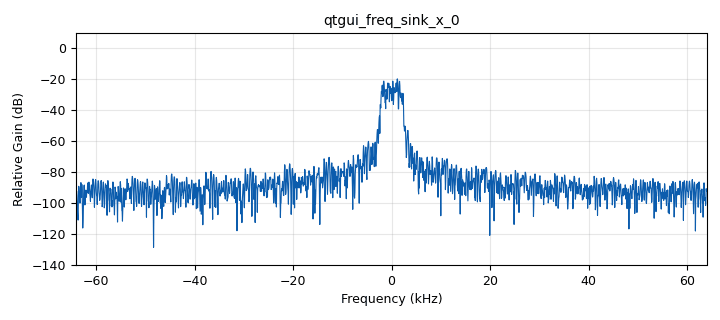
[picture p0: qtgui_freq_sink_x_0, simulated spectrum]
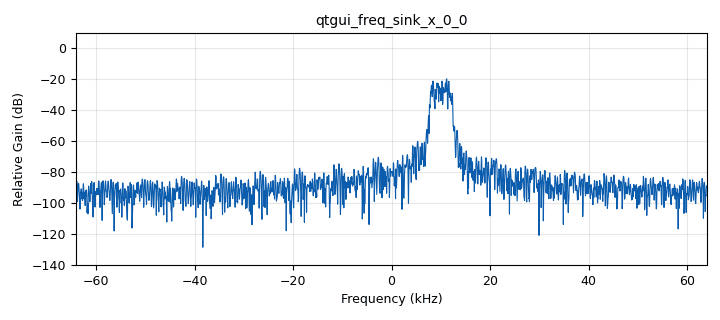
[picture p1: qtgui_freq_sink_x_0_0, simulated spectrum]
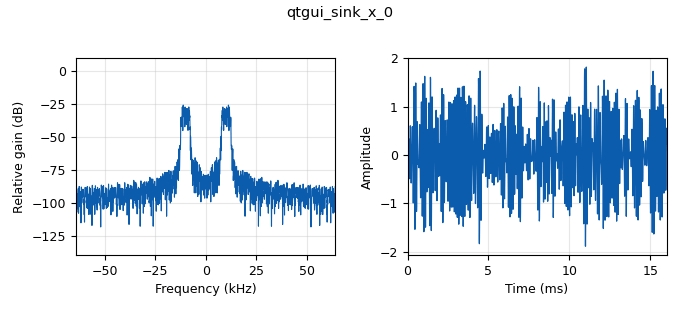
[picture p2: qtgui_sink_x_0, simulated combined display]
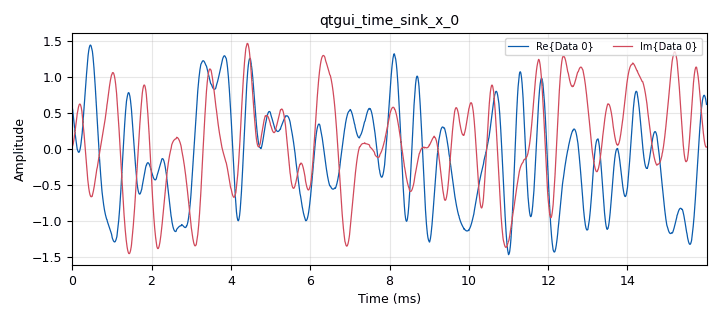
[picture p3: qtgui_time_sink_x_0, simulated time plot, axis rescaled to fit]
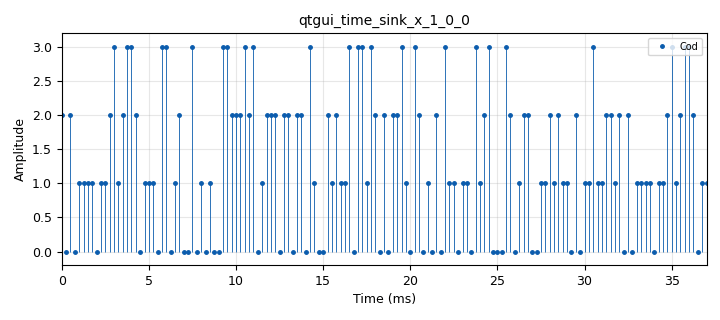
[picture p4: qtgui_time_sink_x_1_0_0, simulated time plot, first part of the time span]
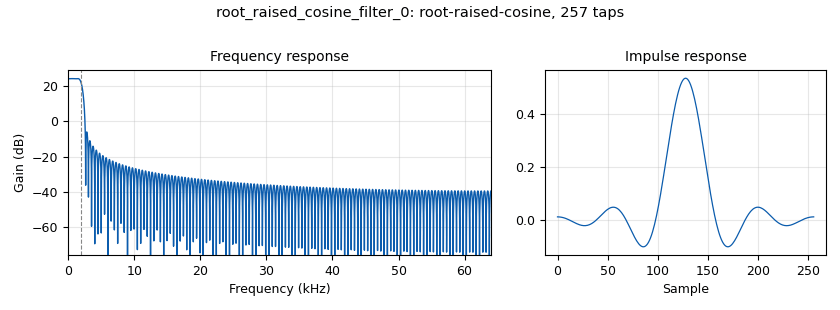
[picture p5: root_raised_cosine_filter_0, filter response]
options:
  parameters:
    generate_options: qt_gui
    id: qpsk
    output_language: python
    title: Basic QPSK starter
  states: {}

blocks:
- name: constellation
  id: variable_constellation
  parameters:
    const_points: '[-1-1j, -1+1j, 1+1j, 1-1j]'
    dims: '1'
    normalization: digital.constellation.NO_NORMALIZATION
    precision: '8'
    rot_sym: '4'
    sym_map: '[0, 1, 3, 2]'
    type: calcdist
  states: {}
- name: samp_rate
  id: variable
  parameters:
    value: symbol_rate*sps
  states: {}
- name: sps
  id: variable
  parameters:
    value: '32'
  states: {}
- name: symbol_rate
  id: variable
  parameters:
    value: '4000'
  states: {}
- name: analog_random_source_x_0
  id: analog_random_source_x
  parameters:
    max: '4'
    min: '0'
    num_samps: '128'
    repeat: 'True'
    type: byte
  states: {}
- name: analog_sig_source_x_0
  id: analog_sig_source_x
  parameters:
    amp: '1'
    freq: '10000'
    offset: '0'
    phase: '0'
    samp_rate: samp_rate
    type: complex
    waveform: analog.GR_COS_WAVE
  states: {}
- name: blocks_char_to_float_0
  id: blocks_char_to_float
  parameters:
    scale: '1'
  states: {}
- name: blocks_complex_to_real_0
  id: blocks_complex_to_real
  parameters: {}
  states: {}
- name: blocks_multiply_xx_0
  id: blocks_multiply_xx
  parameters:
    type: complex
  states: {}
- name: blocks_throttle2_0
  id: blocks_throttle2
  parameters:
    limit: items
    samples_per_second: symbol_rate
    type: byte
  states: {}
- name: digital_constellation_encoder_bc_0
  id: digital_constellation_encoder_bc
  parameters:
    constellation: constellation
  states: {}
- name: qtgui_const_sink_x_0
  id: qtgui_const_sink_x
  parameters:
    size: '1024'
    type: complex
  states: {state: disabled}
- name: qtgui_eye_sink_x_0
  id: qtgui_eye_sink_x
  parameters:
    samp_per_symbol: sps
    size: '1024'
    srate: samp_rate
    type: complex
  states: {state: disabled}
- name: qtgui_freq_sink_x_0
  id: qtgui_freq_sink_x
  parameters:
    bw: samp_rate
    fc: '0'
    fftsize: '2048'
    type: complex
  states: {}
- name: qtgui_freq_sink_x_0_0
  id: qtgui_freq_sink_x
  parameters:
    bw: samp_rate
    fc: '0'
    fftsize: '2048'
    type: complex
  states: {}
- name: qtgui_sink_x_0
  id: qtgui_sink_x
  parameters:
    bw: samp_rate
    fc: '0'
    fftsize: '2048'
    type: float
  states: {}
- name: qtgui_time_sink_x_0
  id: qtgui_time_sink_x
  parameters:
    size: '2048'
    srate: samp_rate
    type: complex
  states: {}
- name: qtgui_time_sink_x_1_0_0
  id: qtgui_time_sink_x
  parameters:
    label1: Cod
    marker1: '0'
    size: '256'
    srate: symbol_rate
    stemplot: 'True'
    type: float
    ymax: '3.2'
    ymin: '-.2'
  states: {}
- name: root_raised_cosine_filter_0
  id: root_raised_cosine_filter
  parameters:
    alpha: '0.25'
    gain: '16'
    interp: '16'
    ntaps: 8*sps
    samp_rate: samp_rate
    sym_rate: symbol_rate
    type: interp_fir_filter_ccf
  states: {}

connections:
- [analog_random_source_x_0, '0', blocks_throttle2_0, '0']
- [analog_random_source_x_0, '0', digital_constellation_encoder_bc_0, '0']
- [analog_sig_source_x_0, '0', blocks_multiply_xx_0, '1']
- [blocks_char_to_float_0, '0', qtgui_time_sink_x_1_0_0, '0']
- [blocks_complex_to_real_0, '0', qtgui_sink_x_0, '0']
- [blocks_multiply_xx_0, '0', blocks_complex_to_real_0, '0']
- [blocks_multiply_xx_0, '0', qtgui_freq_sink_x_0_0, '0']
- [blocks_throttle2_0, '0', blocks_char_to_float_0, '0']
- [digital_constellation_encoder_bc_0, '0', root_raised_cosine_filter_0, '0']
- [root_raised_cosine_filter_0, '0', blocks_multiply_xx_0, '0']
- [root_raised_cosine_filter_0, '0', qtgui_const_sink_x_0, '0']
- [root_raised_cosine_filter_0, '0', qtgui_eye_sink_x_0, '0']
- [root_raised_cosine_filter_0, '0', qtgui_freq_sink_x_0, '0']
- [root_raised_cosine_filter_0, '0', qtgui_time_sink_x_0, '0']

metadata:
  file_format: 1
  grc_version: 3.10.10.0
